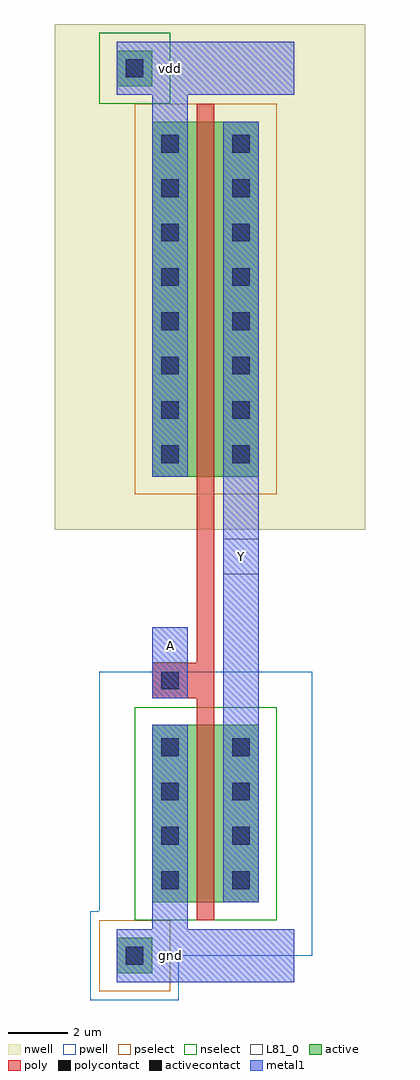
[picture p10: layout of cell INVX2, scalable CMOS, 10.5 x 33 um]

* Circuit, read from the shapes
.subckt INVX2 A Y gnd vdd
M1 Y A gnd gnd nfet w=6u l=0.6u
M2 Y A vdd vdd pfet w=12u l=0.6u
.ends

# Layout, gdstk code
import gdstk
lib = gdstk.Library(unit=1e-6, precision=1e-09)
def R(c, l, rs):  # rectangles x0, y0, x1, y1
    for r in rs: c.add(gdstk.rectangle(r[:2], r[2:], *l))
def A(c, l, x, y, w, h, nx, ny, dx, dy):  # array of equal rectangles
    R(c, l, [(x+i*dx, y+j*dy, x+i*dx+w, y+j*dy+h) for i in range(nx) for j in range(ny)])
pwell = (41, 0)
nwell = (42, 0)
active = (43, 0)
pselect = (44, 0)
nselect = (45, 0)
poly = (46, 0)
polycontact = (47, 0)
activecontact = (48, 0)
metal1 = (49, 0)
L81_0 = (81, 0)

invx2 = lib.new_cell('INVX2')
R(invx2, pwell, [(-1.5,-1.5,1.5,0), (-1.5,0,6,1.5), (-1.2,1.5,6,9.6)])
R(invx2, nwell, [(-2.7,14.4,7.8,31.5)])
R(invx2, active, [(-0.6,-0.6,0.6,0.6), (0.6,1.8,4.2,7.8), (0.6,16.2,4.2,28.2), (-0.6,29.4,0.6,30.6)])
R(invx2, pselect, [(-1.2,-1.2,1.2,1.2), (0,15.6,4.8,28.8)])
R(invx2, nselect, [(0,1.2,4.8,8.4), (-1.2,28.8,1.2,31.2)])
R(invx2, poly, [(2.1,1.2,2.7,8.7), (0.6,8.7,2.7,9.9), (2.1,9.9,2.7,28.8)])
R(invx2, polycontact, [(0.9,9,1.5,9.6)])
A(invx2, activecontact, 0.9, 2.25, 0.6, 0.6, 1, 4, 0, 1.5)
A(invx2, activecontact, 3.3, 2.25, 0.6, 0.6, 1, 4, 0, 1.5)
A(invx2, activecontact, 0.9, 16.65, 0.6, 0.6, 1, 8, 0, 1.5)
A(invx2, activecontact, 3.3, 16.65, 0.6, 0.6, 1, 8, 0, 1.5)
R(invx2, activecontact, [(-0.3,-0.3,0.3,0.3), (-0.3,29.7,0.3,30.3)])
R(invx2, metal1, [(-0.6,-0.9,5.4,0.9), (0.6,0.9,1.8,7.8), (3,1.8,4.2,28.2), (0.6,8.7,1.8,11.1), (0.6,16.2,1.8,29.1), (-0.6,29.1,5.4,30.9)])
R(invx2, L81_0, [(0.6,9.9,1.8,11.1), (3,12.9,4.2,14.1)])
invx2.add(gdstk.Label('vdd', (1.2,30), layer=49, texttype=0))
invx2.add(gdstk.Label('gnd', (1.2,0), layer=49, texttype=0))
invx2.add(gdstk.Label('Y', (3.6,13.5), layer=49, texttype=0))
invx2.add(gdstk.Label('A', (1.2,10.5), layer=49, texttype=0))

lib.write_gds('INVX2.gds')
